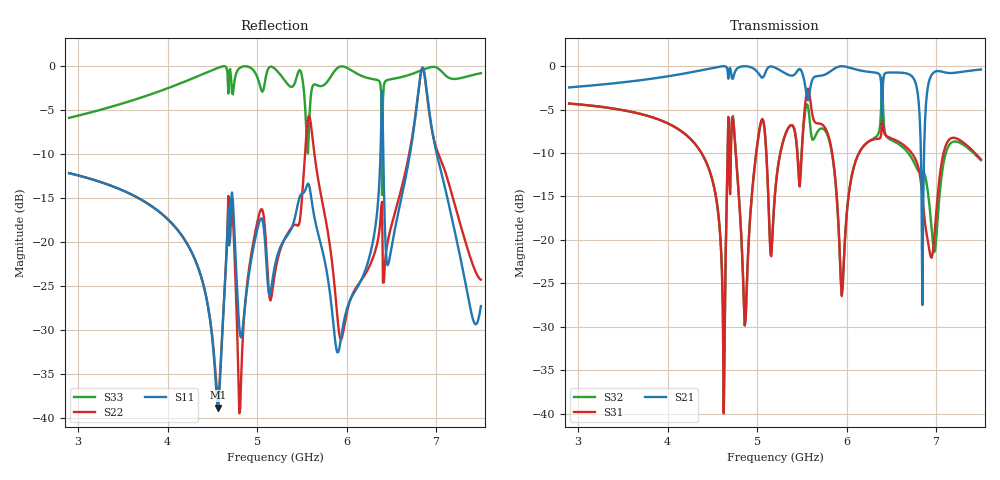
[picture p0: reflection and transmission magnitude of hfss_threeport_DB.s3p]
! Touchstone file from project Project1
! Exported from HFSS 2017.1.0
!Data is not renormalized
# GHZ S DB
! Modal data exported
! Port[1] = 1:1
! Port[2] = 2:1
! Port[3] = 3:1
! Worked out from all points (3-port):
!   451 points, 2.9 GHz to 7.5 GHz, reference per port
!   strongest paths, dB at 2.9 GHz, 4.045 GHz, 5.2 GHz, 6.355 GHz, 7.5 GHz:
!     S21: -2.5, -1.1, -0.2, -0.9, -0.4
!     S31: -4.3, -6.8, -14.8, -8.4, -10.7
!     S32: -4.3, -6.8, -14.6, -7.8, -10.8
!   lowest |S11| = -38.8 dB at 4.566 GHz (marker M1), VSWR 1.02
!   |S11| at or under -10 dB: start of sweep to 6.378 GHz; 6.41 GHz to 6.707 GHz (297.3 MHz wide, 4.53 % of centre); 7.008 GHz to end of sweep
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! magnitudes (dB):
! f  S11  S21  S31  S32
! 2.9 GHz  -12.2  -2.5  -4.3  -4.3
! 4.566 GHz  -38.8  -0.1  -17.0  -17.0
! 4.628 GHz  -27.1  0.0  -39.9  -40.0
! 4.72 GHz  -14.4  -1.4  -6.2  -5.9
! 4.812 GHz  -30.7  -0.1  -17.5  -17.3
! 5.2 GHz  -22.6  -0.2  -14.8  -14.6
! 5.588 GHz  -13.9  -3.0  -3.4  -6.4
! 5.905 GHz  -32.5  -0.1  -17.5  -17.7
! 6.846 GHz  -0.1  -27.5  -15.0  -12.1
! 7.5 GHz  -27.3  -0.4  -10.7  -10.8
